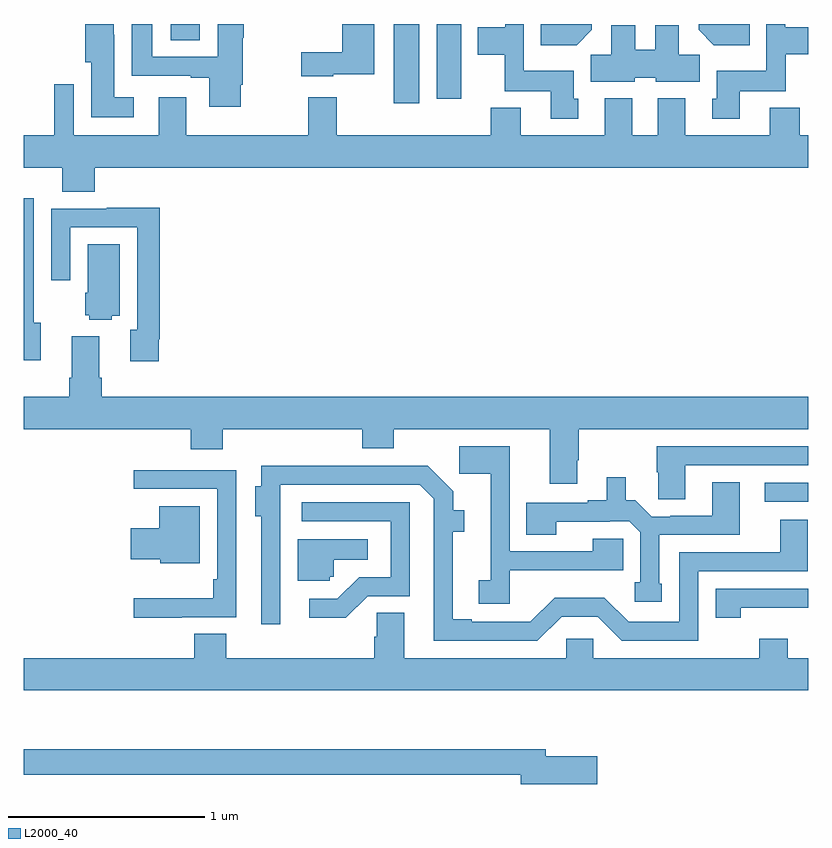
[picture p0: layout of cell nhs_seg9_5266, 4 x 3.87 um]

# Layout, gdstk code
import gdstk
lib = gdstk.Library(unit=1e-6, precision=1e-09)
def R(c, l, rs):  # rectangles x0, y0, x1, y1
    for r in rs: c.add(gdstk.rectangle(r[:2], r[2:], *l))
def P(c, l, *ps):  # polygons
    for p in ps: c.add(gdstk.Polygon(p, *l))
L2000_40 = (2000, 40)

nhs_seg9_5266 = lib.new_cell('nhs_seg9_5266')
R(nhs_seg9_5266, L2000_40, [(420.777,1180.065,421,1180.161), (418.886,1182.096,419.017,1182.5), (419.105,1182.12,419.23,1182.5), (417.749,1182.418,417.898,1182.5)])
P(nhs_seg9_5266, L2000_40, [(418.578,1182.245),(418.786,1182.245),(418.786,1182.5),(418.624,1182.5),(418.624,1182.355),(418.416,1182.355),(418.416,1182.233),(418.578,1182.233)],
  [(419.896,1182.47),(419.896,1182.5),(419.635,1182.5),(419.635,1182.392),(419.818,1182.392)],
  [(417.562,1182.127),(417.463,1182.127),(417.463,1182.446),(417.459,1182.446),(417.459,1182.5),(417.314,1182.5),(417.314,1182.306),(417.344,1182.306),(417.344,1182.026),(417.562,1182.026)],
  [(418.108,1182.19),(418.116,1182.19),(418.116,1182.43),(418.121,1182.43),(418.121,1182.5),(417.989,1182.5),(417.989,1182.333),(417.655,1182.333),(417.655,1182.5),(417.551,1182.5),(417.551,1182.237),(417.851,1182.237),(417.851,1182.225),(417.947,1182.225),(417.947,1182.078),(418.108,1182.078)],
  [(420.701,1182.5),(420.44,1182.5),(420.44,1182.47),(420.518,1182.392),(420.701,1182.392)],
  [(419.827,1182.12),(419.803,1182.12),(419.803,1182.262),(419.55,1182.262),(419.55,1182.5),(419.454,1182.5),(419.454,1182.484),(419.315,1182.484),(419.315,1182.344),(419.452,1182.344),(419.452,1182.158),(419.687,1182.158),(419.687,1182.018),(419.827,1182.018)],
  [(420.649,1182.158),(420.884,1182.158),(420.884,1182.345),(421,1182.345),(421,1182.484),(420.882,1182.484),(420.882,1182.5),(420.786,1182.5),(420.786,1182.262),(420.533,1182.262),(420.533,1182.12),(420.509,1182.12),(420.509,1182.018),(420.649,1182.018)],
  [(420.114,1182.227),(420.222,1182.227),(420.222,1182.206),(420.445,1182.206),(420.445,1182.344),(420.34,1182.344),(420.34,1182.493),(420.218,1182.493),(420.218,1182.368),(420.118,1182.368),(420.118,1182.493),(419.996,1182.493),(419.996,1182.344),(419.891,1182.344),(419.891,1182.206),(420.114,1182.206)],
  [(417.362,1181.768),(421,1181.768),(421,1181.932),(420.956,1181.932),(420.956,1182.073),(420.803,1182.073),(420.803,1181.932),(420.373,1181.932),(420.373,1182.121),(420.233,1182.121),(420.233,1181.932),(420.103,1181.932),(420.103,1182.121),(419.963,1182.121),(419.963,1181.932),(419.533,1181.932),(419.533,1182.073),(419.381,1182.073),(419.381,1181.932),(418.597,1181.932),(418.597,1182.127),(418.45,1182.127),(418.45,1181.932),(417.829,1181.932),(417.829,1182.127),(417.689,1182.127),(417.689,1181.932),(417.255,1181.932),(417.255,1182.193),(417.157,1182.193),(417.157,1181.932),(417,1181.932),(417,1181.768),(417.197,1181.768),(417.197,1181.644),(417.362,1181.644)],
  [(417.088,1180.978),(417.051,1180.978),(417.051,1181.611),(417,1181.611),(417,1180.787),(417.088,1180.787)],
  [(417.688,1180.894),(417.695,1180.894),(417.695,1181.563),(417.425,1181.563),(417.425,1181.559),(417.141,1181.559),(417.141,1181.193),(417.237,1181.193),(417.237,1181.463),(417.579,1181.463),(417.579,1180.943),(417.545,1180.943),(417.545,1180.782),(417.688,1180.782)],
  [(417.45,1181.012),(417.49,1181.012),(417.49,1181.378),(417.326,1181.378),(417.326,1181.13),(417.314,1181.13),(417.314,1181.016),(417.336,1181.016),(417.336,1180.994),(417.45,1180.994)],
  [(419.821,1180.276),(419.829,1180.276),(419.829,1180.436),(421,1180.436),(421,1180.6),(417.398,1180.6),(417.398,1180.696),(417.385,1180.696),(417.385,1180.909),(417.245,1180.909),(417.245,1180.696),(417.233,1180.696),(417.233,1180.6),(417,1180.6),(417,1180.436),(417.851,1180.436),(417.851,1180.334),(418.016,1180.334),(418.016,1180.436),(418.727,1180.436),(418.727,1180.337),(418.887,1180.337),(418.887,1180.436),(419.681,1180.436),(419.681,1180.158),(419.821,1180.158)],
  [(419.478,1179.716),(419.945,1179.716),(419.945,1179.717),(420.055,1179.717),(420.055,1179.878),(419.902,1179.878),(419.902,1179.813),(419.478,1179.813),(419.478,1180.348),(419.22,1180.348),(419.22,1180.209),(419.381,1180.209),(419.381,1179.666),(419.319,1179.666),(419.319,1179.546),(419.478,1179.546)],
  [(420.373,1180.251),(421,1180.251),(421,1180.347),(420.226,1180.347),(420.226,1180.215),(420.235,1180.215),(420.235,1180.078),(420.373,1180.078)],
  [(419.742,1179.48),(419.925,1179.48),(420.048,1179.357),(420.438,1179.357),(420.438,1179.711),(420.997,1179.711),(420.997,1179.973),(420.857,1179.973),(420.857,1179.807),(420.342,1179.807),(420.342,1179.453),(420.084,1179.453),(419.96,1179.577),(419.706,1179.577),(419.582,1179.453),(419.284,1179.453),(419.284,1179.466),(419.188,1179.466),(419.188,1179.912),(419.245,1179.912),(419.245,1180.022),(419.189,1180.022),(419.189,1180.12),(419.059,1180.25),(418.958,1180.25),(418.958,1180.248),(418.643,1180.248),(418.643,1180.25),(418.212,1180.25),(418.212,1180.144),(418.181,1180.144),(418.181,1179.992),(418.212,1179.992),(418.212,1179.441),(418.308,1179.441),(418.308,1180.152),(419.019,1180.152),(419.091,1180.08),(419.091,1179.357),(419.619,1179.357)],
  [(417.805,1179.477),(418.083,1179.477),(418.083,1180.227),(417.561,1180.227),(417.561,1180.131),(417.987,1180.131),(417.987,1179.67),(417.967,1179.67),(417.967,1179.574),(417.561,1179.574),(417.561,1179.473),(417.805,1179.473)],
  [(420.253,1179.648),(420.24,1179.648),(420.24,1179.897),(420.649,1179.897),(420.649,1180.166),(420.509,1180.166),(420.509,1179.993),(420.295,1179.993),(420.295,1179.99),(420.201,1179.99),(420.117,1180.074),(420.07,1180.074),(420.07,1180.189),(419.972,1180.189),(419.972,1180.074),(419.876,1180.074),(419.876,1180.059),(419.563,1180.059),(419.563,1179.898),(419.715,1179.898),(419.715,1179.963),(419.987,1179.963),(419.987,1179.966),(420.087,1179.966),(420.144,1179.909),(420.144,1179.654),(420.114,1179.654),(420.114,1179.555),(420.253,1179.555)],
  [(418.755,1179.585),(418.968,1179.585),(418.968,1180.062),(418.419,1180.062),(418.419,1179.966),(418.872,1179.966),(418.872,1179.681),(418.71,1179.681),(418.599,1179.57),(418.455,1179.57),(418.455,1179.473),(418.642,1179.473)],
  [(417.898,1180.042),(417.692,1180.042),(417.692,1179.931),(417.546,1179.931),(417.546,1179.773),(417.696,1179.773),(417.696,1179.752),(417.898,1179.752)],
  [(418.56,1179.684),(418.581,1179.684),(418.581,1179.77),(418.753,1179.77),(418.753,1179.874),(418.397,1179.874),(418.397,1179.663),(418.56,1179.663)],
  [(420.656,1179.524),(421,1179.524),(421,1179.621),(420.528,1179.621),(420.528,1179.474),(420.656,1179.474)],
  [(421,1179.268),(420.895,1179.268),(420.895,1179.367),(420.748,1179.367),(420.748,1179.268),(419.904,1179.268),(419.904,1179.366),(419.766,1179.366),(419.766,1179.268),(418.939,1179.268),(418.939,1179.5),(418.8,1179.5),(418.8,1179.377),(418.787,1179.377),(418.787,1179.268),(418.034,1179.268),(418.034,1179.392),(417.869,1179.392),(417.869,1179.268),(417,1179.268),(417,1179.104),(421,1179.104)],
  [(419.923,1178.769),(419.662,1178.769),(419.662,1178.803),(417,1178.803),(417,1178.674),(419.534,1178.674),(419.534,1178.627),(419.923,1178.627)])

lib.write_gds('nhs_seg9_5266.gds')
